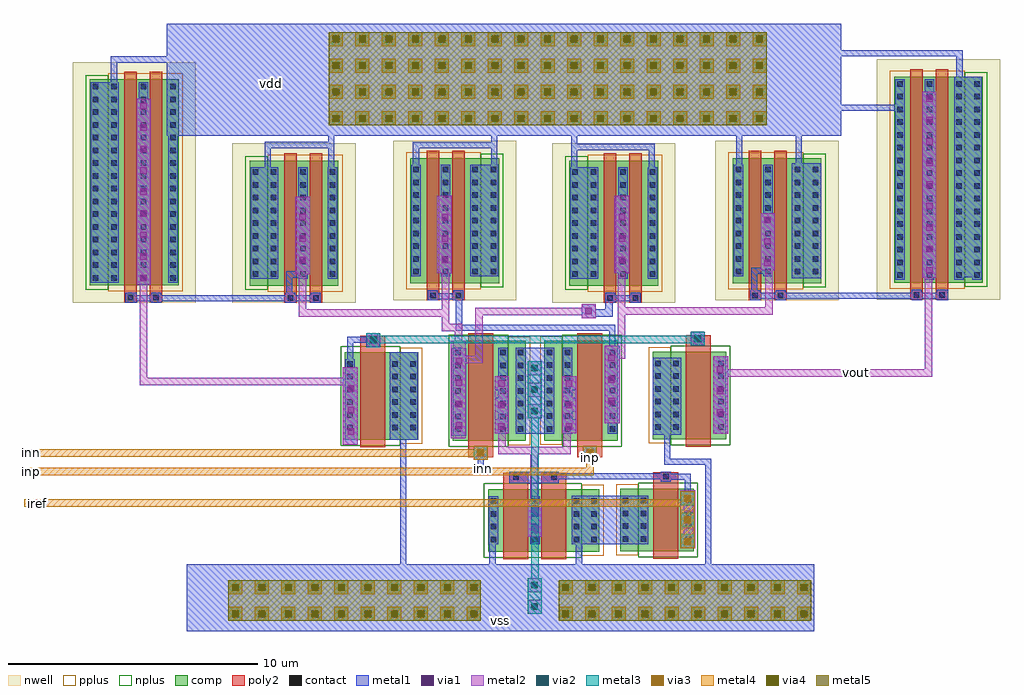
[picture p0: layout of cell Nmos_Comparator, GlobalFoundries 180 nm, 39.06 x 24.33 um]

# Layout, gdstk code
from math import pi, radians
import gdstk
lib = gdstk.Library(unit=1e-6, precision=1e-09)
def R(c, l, rs):  # rectangles x0, y0, x1, y1
    for r in rs: c.add(gdstk.rectangle(r[:2], r[2:], *l))
def A(c, l, x, y, w, h, nx, ny, dx, dy):  # array of equal rectangles
    R(c, l, [(x+i*dx, y+j*dy, x+i*dx+w, y+j*dy+h) for i in range(nx) for j in range(ny)])
nwell = (21, 0)
comp = (22, 0)
poly2 = (30, 0)
pplus = (31, 0)
nplus = (32, 0)
contact = (33, 0)
metal1 = (34, 0)
via1 = (35, 0)
metal2 = (36, 0)
via2 = (38, 0)
via3 = (40, 0)
via4 = (41, 0)
metal3 = (42, 0)
metal4 = (46, 0)
metal5 = (81, 0)

via_dev = lib.new_cell('via_dev')
R(via_dev, metal1, [(0,0,0.56,0.56)])
R(via_dev, via1, [(0.15,0.15,0.41,0.41)])
R(via_dev, metal2, [(0,0,0.56,0.56)])

via_dev_3 = lib.new_cell('via_dev$3')
R(via_dev_3, metal1, [(0,0,0.56,0.56)])
R(via_dev_3, via1, [(0.15,0.15,0.41,0.41)])
R(via_dev_3, metal2, [(0,0,0.56,0.56)])
R(via_dev_3, via2, [(0.15,0.15,0.41,0.41)])
R(via_dev_3, metal3, [(0,0,0.56,0.56)])

pfet_3 = lib.new_cell('pfet$3')
R(pfet_3, nwell, [(-1.15,-0.69,3.78,5.69)])
R(pfet_3, comp, [(-0.46,0,0,5), (0,0,1.9,5), (1.9,0,2.36,5), (2.36,0,3.09,5)])
R(pfet_3, poly2, [(0.19,-0.3,0.69,5.3), (1.21,-0.3,1.71,5.3), (0.19,5.3,0.69,5.68), (1.21,5.3,1.71,5.68)])
R(pfet_3, pplus, [(-0.63,-0.24,2.36,5.24)])
R(pfet_3, nplus, [(2.36,-0.17,3.26,5.17)])
A(pfet_3, contact, -0.34, 0.35, 0.22, 0.22, 3, 9, 1.18, 0.51)
A(pfet_3, contact, 2.75, 0.35, 0.22, 0.22, 1, 9, 0, 0.51)
R(pfet_3, contact, [(0.33,5.38,0.55,5.6), (1.35,5.38,1.57,5.6)])
A(pfet_3, metal1, -0.42, 0.27, 0.38, 4.46, 3, 1, 1.18, 0)
R(pfet_3, metal1, [(2.67,0.27,3.05,4.73), (0.25,5.299,0.63,5.681), (1.27,5.299,1.65,5.681)])

pfet = lib.new_cell('pfet')

nfet_6 = lib.new_cell('nfet$6')
R(nfet_6, comp, [(-0.42,0,0,3.5), (0,0,1.38,3.5), (1.38,0,1.8,3.5), (1.8,0,2.51,3.5)])
R(nfet_6, poly2, [(0.19,-0.3,1.19,3.8), (0.19,3.8,1.19,4.16)])
R(nfet_6, pplus, [(1.8,-0.17,2.68,3.67)])
R(nfet_6, nplus, [(-0.59,-0.24,1.8,3.74)])
A(nfet_6, contact, -0.32, 0.365, 0.22, 0.22, 1, 6, 0, 0.51)
A(nfet_6, contact, 1.48, 0.365, 0.22, 0.22, 1, 6, 0, 0.51)
A(nfet_6, contact, 2.19, 0.365, 0.22, 0.22, 1, 6, 0, 0.51)
R(nfet_6, contact, [(0.58,3.87,0.8,4.09)])
R(nfet_6, metal1, [(-0.4,0.285,-0.02,3.215), (1.4,0.285,1.78,3.215), (2.11,0.285,2.49,3.215), (0.5,3.789,0.88,4.171)])

pfet_1 = lib.new_cell('pfet$1')
R(pfet_1, nwell, [(-1.15,-0.69,3.78,8.94)])
R(pfet_1, comp, [(-0.46,0,0,8.25), (0,0,1.9,8.25), (1.9,0,2.36,8.25), (2.36,0,3.09,8.25)])
R(pfet_1, poly2, [(0.19,-0.3,0.69,8.55), (1.21,-0.3,1.71,8.55), (0.19,8.55,0.69,8.93), (1.21,8.55,1.71,8.93)])
R(pfet_1, pplus, [(-0.63,-0.24,2.36,8.49)])
R(pfet_1, nplus, [(2.36,-0.17,3.26,8.42)])
A(pfet_1, contact, -0.34, 0.19, 0.22, 0.22, 3, 16, 1.18, 0.51)
A(pfet_1, contact, 2.75, 0.19, 0.22, 0.22, 1, 16, 0, 0.51)
R(pfet_1, contact, [(0.33,8.63,0.55,8.85), (1.35,8.63,1.57,8.85)])
A(pfet_1, metal1, -0.42, 0.11, 0.38, 8.03, 3, 1, 1.18, 0)
R(pfet_1, metal1, [(2.67,0.11,3.05,8.14), (0.25,8.549,0.63,8.931), (1.27,8.549,1.65,8.931)])

via_dev_1 = lib.new_cell('via_dev$1')
R(via_dev_1, metal1, [(0,0,0.56,0.56)])
R(via_dev_1, via1, [(0.15,0.15,0.41,0.41)])
R(via_dev_1, metal2, [(0,0,0.56,0.56)])
R(via_dev_1, via2, [(0.15,0.15,0.41,0.41)])
R(via_dev_1, via3, [(0.15,0.15,0.41,0.41)])
R(via_dev_1, via4, [(0.15,0.15,0.41,0.41)])
R(via_dev_1, metal3, [(0,0,0.56,0.56)])
R(via_dev_1, metal4, [(0,0,0.56,0.56)])
R(via_dev_1, metal5, [(0,0,0.56,0.56)])

nfet = lib.new_cell('nfet')
R(nfet, comp, [(-0.42,0,0,2.5), (0,0,2.9,2.5), (2.9,0,3.32,2.5), (3.32,0,4.03,2.5)])
R(nfet, poly2, [(0.19,-0.3,1.19,2.8), (1.71,-0.3,2.71,2.8), (0.19,2.8,1.19,3.16), (1.71,2.8,2.71,3.16)])
R(nfet, pplus, [(3.32,-0.17,4.2,2.67)])
R(nfet, nplus, [(-0.59,-0.24,3.32,2.74)])
A(nfet, contact, -0.32, 0.375, 0.22, 0.22, 3, 4, 1.66, 0.51)
A(nfet, contact, 3.71, 0.375, 0.22, 0.22, 1, 4, 0, 0.51)
R(nfet, contact, [(0.58,2.87,0.8,3.09), (2.1,2.87,2.32,3.09)])
A(nfet, metal1, -0.4, 0.295, 0.38, 1.91, 3, 1, 1.66, 0)
R(nfet, metal1, [(3.63,0.295,4.01,2.205), (0.5,2.789,0.88,3.171), (2.02,2.789,2.4,3.171)])

nfet_2 = lib.new_cell('nfet$2')
R(nfet_2, comp, [(-0.42,0,0,2.5), (0,0,1.38,2.5), (1.38,0,1.8,2.5), (1.8,0,2.51,2.5)])
R(nfet_2, poly2, [(0.19,-0.3,1.19,2.8), (0.19,2.8,1.19,3.16)])
R(nfet_2, pplus, [(1.8,-0.17,2.68,2.67)])
R(nfet_2, nplus, [(-0.59,-0.24,1.8,2.74)])
A(nfet_2, contact, -0.32, 0.375, 0.22, 0.22, 1, 4, 0, 0.51)
A(nfet_2, contact, 1.48, 0.375, 0.22, 0.22, 1, 4, 0, 0.51)
A(nfet_2, contact, 2.19, 0.375, 0.22, 0.22, 1, 4, 0, 0.51)
R(nfet_2, contact, [(0.58,2.87,0.8,3.09)])
R(nfet_2, metal1, [(-0.4,0.295,-0.02,2.205), (1.4,0.295,1.78,2.205), (2.11,0.295,2.49,2.205), (0.5,2.789,0.88,3.171)])

via_dev_2 = lib.new_cell('via_dev$2')
R(via_dev_2, metal1, [(0,0,0.56,0.56)])
R(via_dev_2, via1, [(0.15,0.15,0.41,0.41)])
R(via_dev_2, metal2, [(0,0,0.56,0.56)])
R(via_dev_2, via2, [(0.15,0.15,0.41,0.41)])
R(via_dev_2, via3, [(0.15,0.15,0.41,0.41)])
R(via_dev_2, metal3, [(0,0,0.56,0.56)])
R(via_dev_2, metal4, [(0,0,0.56,0.56)])

nfet_5 = lib.new_cell('nfet$5')
R(nfet_5, comp, [(-0.42,0,0,4), (0,0,1.38,4), (1.38,0,1.8,4), (1.8,0,2.51,4)])
R(nfet_5, poly2, [(0.19,-0.3,1.19,4.3), (0.19,4.3,1.19,4.66)])
R(nfet_5, pplus, [(1.8,-0.17,2.68,4.17)])
R(nfet_5, nplus, [(-0.59,-0.24,1.8,4.24)])
A(nfet_5, contact, -0.32, 0.36, 0.22, 0.22, 1, 7, 0, 0.51)
A(nfet_5, contact, 1.48, 0.36, 0.22, 0.22, 1, 7, 0, 0.51)
A(nfet_5, contact, 2.19, 0.36, 0.22, 0.22, 1, 7, 0, 0.51)
R(nfet_5, contact, [(0.58,4.37,0.8,4.59)])
R(nfet_5, metal1, [(-0.4,0.28,-0.02,3.72), (1.4,0.28,1.78,3.72), (2.11,0.28,2.49,3.72), (0.5,4.289,0.88,4.671)])

nmos_comparator = lib.new_cell('Nmos_Comparator')
R(nmos_comparator, metal1, [(-17.5,-11.74,7.6,-9.04), (-2.105,-8.245,0.96,-6.315), (-2.105,-8.23,-1.02,-6.335), (-3.86,-7.95,-3.3,-6.53), (-4.61,-5.8,-2.61,-5.35), (1.47,-5.74,1.87,-5.34), (-5.95,-4.79,-5.55,-4.39), (-1.58,-4.78,-1.16,-4.37), (-11.26,-4.26,-10.66,-1.16), (-9.38,-4.06,-8.26,-0.56), (-6.93,-3.9,-6.33,-0.4), (1.15,-3.87,2.28,-0.78), (3.56,-3.83,4.16,-0.73), (-4.33,-3.82,-2.79,-0.39), (-0.78,-3.4,-0.18,-0.3), (-10.27,-0.28,-9.87,0.12), (2.76,-0.27,3.18,0.16), (-19.96,1.41,-19.5,1.82), (-13.56,1.41,-13.16,1.81), (-12.54,1.41,-12.14,1.81), (-0.76,1.41,-0.36,1.82), (0.26,1.41,0.66,1.81), (-18.93,1.42,-18.53,1.82), (-7.86,1.51,-7.46,1.92), (-6.84,1.51,-6.44,1.91), (5.04,1.51,5.45,1.92), (6.06,1.51,6.47,1.92), (11.5,1.52,11.91,1.93), (12.5,1.52,12.96,1.93), (-19.51,2.13,-18.95,9.57), (-21.34,2.22,-20.23,10.25), (-14.95,2.37,-13.84,6.83), (-2.15,2.37,-1.04,6.83), (6.7,2.4,7.89,7), (11.93,2.42,12.49,9.86), (13.21,2.435,14.31,10.465), (-6.16,2.47,-5.05,6.93), (-13.17,2.55,-12.57,5.65), (-7.5,2.6,-6.9,5.7), (-0.4,2.6,0.2,5.7), (5.46,2.72,6.02,5), (-2.125,6.83,-1.875,8.3), (-18.31,8.09,8.69,12.59)])
R(nmos_comparator, metal2, [(2.24,-8.41,2.84,-6.08), (-3.86,-7.95,-3.3,-6.53), (-11.26,-4.26,-10.66,-1.16), (-6.94,-4.01,-6.34,-0.11), (3.56,-3.83,4.16,-0.73), (-5.19,-3.8,-4.63,-1.53), (-2.48,-3.8,-1.92,-1.53), (-0.78,-3.4,-0.18,-0.3), (-19.51,2.13,-18.95,9.57), (11.93,2.42,12.49,9.86), (-13.17,2.55,-12.57,5.65), (-7.5,2.6,-6.9,5.7), (-0.4,2.6,0.2,5.7), (5.46,2.72,6.02,5)])
R(nmos_comparator, metal3, [(-3.86,-11.03,-3.3,-9.61), (-3.86,-3.2,-3.3,-0.94)])
R(nmos_comparator, metal4, [(2.24,-8.41,2.83,-6.12)])
R(nmos_comparator, metal5, [(-15.84,-11.32,-5.74,-9.7), (-2.62,-11.32,7.48,-9.7), (-11.82,8.51,5.7,12.25)])
nmos_comparator.add(gdstk.FlexPath([(-5.27,-8.165),(-5.27,-9.39),(-1.805,-9.39),(-1.805,-8.08)], 0.25, ends="flush", simple_path=True, layer=34, datatype=0))  # metal1
nmos_comparator.add(gdstk.FlexPath([(2.54,-6.315),(2.54,-5.55),(1.56,-5.55)], 0.25, ends="flush", simple_path=True, layer=34, datatype=0))  # metal1
nmos_comparator.add(gdstk.FlexPath([(1.56,-5.53),(-4.47,-5.53)], 0.25, ends="flush", simple_path=True, layer=34, datatype=0))  # metal1
nmos_comparator.add(gdstk.FlexPath([(-5.74,-4.71),(-5.74,-5.21)], 0.23, ends="flush", simple_path=True, layer=34, datatype=0))  # metal1
nmos_comparator.add(gdstk.FlexPath([(-6.61,1.6),(-6.61,0.42),(-0.48,0.42),(-0.48,-0.67)], 0.25, ends="flush", simple_path=True, layer=34, datatype=0))  # metal1
nmos_comparator.add(gdstk.FlexPath([(1.72,-3.4),(1.72,-4.95),(3.36,-4.95),(3.36,-10.28)], 0.25, ends="flush", simple_path=True, layer=34, datatype=0))  # metal1
nmos_comparator.add(gdstk.FlexPath([(-10.96,-1.16),(-10.96,-0.07),(-10.18,-0.07)], 0.25, ends="flush", simple_path=True, layer=34, datatype=0))  # metal1
nmos_comparator.add(gdstk.FlexPath([(-8.84,-3.63),(-8.84,-10.31)], 0.25, ends="flush", simple_path=True, layer=34, datatype=0))  # metal1
nmos_comparator.add(gdstk.FlexPath([(-19.56,1.6),(-18.92,1.6)], 0.25, ends="flush", simple_path=True, layer=34, datatype=0))  # metal1
nmos_comparator.add(gdstk.FlexPath([(-12.53,1.6),(-13.17,1.6)], 0.25, ends="flush", simple_path=True, layer=34, datatype=0))  # metal1
nmos_comparator.add(gdstk.FlexPath([(-20.42,10.25),(-20.42,11.15),(-18.25,11.15),(-18.25,11.15)], 0.25, ends="flush", simple_path=True, layer=34, datatype=0))  # metal1
nmos_comparator.add(gdstk.FlexPath([(-14.26,6.56),(-14.26,7.73),(-11.6,7.73)], 0.25, ends="flush", simple_path=True, layer=34, datatype=0))  # metal1
nmos_comparator.add(gdstk.FlexPath([(-8.33,6.93),(-8.33,7.72),(-5.2,7.72)], 0.25, ends="flush", simple_path=True, layer=34, datatype=0))  # metal1
nmos_comparator.add(gdstk.FlexPath([(-13,2.55),(-13.4,2.55),(-13.4,1.72)], 0.25, ends="flush", simple_path=True, layer=34, datatype=0))  # metal1
nmos_comparator.add(gdstk.FlexPath([(5.2,1.9),(5.2,2.7),(5.64,2.7)], 0.25, ends="flush", simple_path=True, layer=34, datatype=0))  # metal1
nmos_comparator.add(gdstk.FlexPath([(8.69,9.22),(11.22,9.22)], 0.25, ends="flush", simple_path=True, layer=34, datatype=0))  # metal1
nmos_comparator.add(gdstk.FlexPath([(-0.6,1.5),(-0.6,1),(-1.14,1),(-1.14,1)], 0.3, ends="flush", simple_path=True, layer=34, datatype=0))  # metal1
nmos_comparator.add(gdstk.FlexPath([(1.1,6.75),(1.1,7.65),(-2.125,7.65)], 0.25, ends="flush", simple_path=True, layer=34, datatype=0))  # metal1
nmos_comparator.add(gdstk.FlexPath([(6.99,6.93),(6.99,8.43)], 0.25, ends="flush", simple_path=True, layer=34, datatype=0))  # metal1
nmos_comparator.add(gdstk.FlexPath([(11.9,1.7),(12.54,1.7)], 0.25, ends="flush", simple_path=True, layer=34, datatype=0))  # metal1
nmos_comparator.add(gdstk.FlexPath([(13.42,10.47),(13.42,11.4),(7.89,11.4)], 0.25, ends="flush", simple_path=True, layer=34, datatype=0))  # metal1
nmos_comparator.add(gdstk.FlexPath([(13.42,10.57),(13.42,10.06)], 0.25, ends="flush", simple_path=True, layer=34, datatype=0))  # metal1
nmos_comparator.add(gdstk.FlexPath([(6.45,1.7),(11.52,1.7),(11.52,1.7)], 0.25, ends="flush", simple_path=True, layer=34, datatype=0))  # metal1
nmos_comparator.add(gdstk.FlexPath([(-7.44,1.68),(-6.8,1.68),(-6.8,1.68)], 0.25, ends="flush", simple_path=True, layer=34, datatype=0))  # metal1
nmos_comparator.add(gdstk.FlexPath([(-0.37,1.6),(0.27,1.6)], 0.25, ends="flush", simple_path=True, layer=34, datatype=0))  # metal1
nmos_comparator.add(gdstk.FlexPath([(6.07,1.7),(5.43,1.7)], 0.25, ends="flush", simple_path=True, layer=34, datatype=0))  # metal1
nmos_comparator.add(gdstk.FlexPath([(-7.44,1.68),(-7.5,1.68),(-7.55,1.68)], 0.25, ends="flush", simple_path=True, layer=34, datatype=0))  # metal1
nmos_comparator.add(gdstk.FlexPath([(-5.2,6.9),(-5.2,8.9)], 0.25, ends="flush", simple_path=True, layer=34, datatype=0))  # metal1
nmos_comparator.add(gdstk.FlexPath([(-11.725,6.83),(-11.725,8.1)], 0.25, ends="flush", simple_path=True, layer=34, datatype=0))  # metal1
nmos_comparator.add(gdstk.FlexPath([(4.6,6.93),(4.6,8.3)], 0.25, ends="flush", simple_path=True, layer=34, datatype=0))  # metal1
nmos_comparator.add(gdstk.FlexPath([(11.52,1.7),(11.6,1.7)], 0.25, ends="flush", simple_path=True, layer=34, datatype=0))  # metal1
nmos_comparator.add(gdstk.FlexPath([(-18.575,1.6),(-13.495,1.6)], 0.25, ends="flush", simple_path=True, layer=34, datatype=0))  # metal1
nmos_comparator.add(gdstk.FlexPath([(-3.57,-3.2),(-3.57,-10.35)], 0.3, ends="flush", simple_path=True, layer=42, datatype=0))  # metal3
nmos_comparator.add(gdstk.FlexPath([(-3.57,-10.34),(-3.57,-11.03)], 0.3, ends="flush", simple_path=True, layer=42, datatype=0))  # metal3
nmos_comparator.add(gdstk.FlexPath([(3.16,-0.05),(-10.12,-0.05),(-10.12,-0.05)], 0.3, ends="flush", simple_path=True, layer=42, datatype=0))  # metal3
nmos_comparator.add(gdstk.FlexPath([(-0.11,0.5),(-0.11,-0.68),(-0.54,-0.68)], 0.3, ends="flush", simple_path=True, layer=36, datatype=0))  # metal2
nmos_comparator.add(gdstk.FlexPath([(-3.61,-6.94),(-3.61,-4.5),(-4.89,-4.5),(-4.89,-3.37),(-4.89,-3.27)], 0.3, ends="flush", simple_path=True, layer=36, datatype=0))  # metal2
nmos_comparator.add(gdstk.FlexPath([(-3.61,-4.5),(-2.53,-4.5),(-2.53,-4.5),(-2.28,-4.5),(-2.28,-3.23),(-2.28,-3.23)], 0.3, ends="flush", simple_path=True, layer=36, datatype=0))  # metal2
nmos_comparator.add(gdstk.FlexPath([(-7.16,2.84),(-7.16,0.42),(-6.64,0.42),(-6.64,-0.98)], 0.3, ends="flush", simple_path=True, layer=36, datatype=0))  # metal2
nmos_comparator.add(gdstk.FlexPath([(-1.7,1.06),(-5.81,1.06),(-5.81,-0.86),(-6.75,-0.86)], 0.3, ends="flush", simple_path=True, layer=36, datatype=0))  # metal2
nmos_comparator.add(gdstk.FlexPath([(-10.87,-1.73),(-19.24,-1.73),(-19.24,2.69)], 0.3, ends="flush", simple_path=True, layer=36, datatype=0))  # metal2
nmos_comparator.add(gdstk.FlexPath([(12.18,2.98),(12.18,-1.39),(3.72,-1.39)], 0.3, ends="flush", simple_path=True, layer=36, datatype=0))  # metal2
nmos_comparator.add(gdstk.FlexPath([(-0.1,2.705),(-0.1,0.5),(-0.1,0.5)], 0.3, ends="flush", simple_path=True, layer=36, datatype=0))  # metal2
nmos_comparator.add(gdstk.FlexPath([(-0.035,1.08),(5.8,1.08),(5.8,2.8)], 0.3, ends="flush", simple_path=True, layer=36, datatype=0))  # metal2
nmos_comparator.add(gdstk.FlexPath([(-7.225,1),(-8.4,1)], 0.3, ends="flush", simple_path=True, layer=36, datatype=0))  # metal2
nmos_comparator.add(gdstk.FlexPath([(-12.875,2.65),(-12.875,1),(-8.4,1)], 0.3, ends="flush", simple_path=True, layer=36, datatype=0))  # metal2
nmos_comparator.add(gdstk.FlexPath([(-1.36,-4.47),(-1.36,-5.34),(-24.01,-5.34),(-24.01,-5.34)], 0.3, ends="flush", simple_path=True, layer=46, datatype=0))  # metal4
nmos_comparator.add(gdstk.FlexPath([(-5.55,-4.59),(-23.98,-4.59),(-23.98,-4.59),(-23.98,-4.59)], 0.3, ends="flush", simple_path=True, layer=46, datatype=0))  # metal4
nmos_comparator.add(gdstk.FlexPath([(2.46,-6.6),(-24,-6.6),(-24.02,-6.6)], 0.3, ends="flush", simple_path=True, layer=46, datatype=0))  # metal4
r = gdstk.Reference(via_dev, (0.2,5.12), rotation=pi); r.repetition = gdstk.Repetition(1, 3, v1=(0,0), v2=(0,-0.86)); nmos_comparator.add(r)
r = gdstk.Reference(via_dev, (12.49,9.86), rotation=pi); r.repetition = gdstk.Repetition(1, 9, v1=(0,0), v2=(0,-0.86)); nmos_comparator.add(r)
r = gdstk.Reference(via_dev, (-6.9,5.12), rotation=pi); r.repetition = gdstk.Repetition(1, 3, v1=(0,0), v2=(0,-0.86)); nmos_comparator.add(r)
nmos_comparator.add(gdstk.Reference(via_dev_3, (-9.76,-0.36), rotation=pi/2))
nmos_comparator.add(gdstk.Reference(via_dev, (-1.7,0.8)))
r = gdstk.Reference(via_dev, (-12.6,5.12), rotation=pi); r.repetition = gdstk.Repetition(1, 3, v1=(0,0), v2=(0,-0.86)); nmos_comparator.add(r)
r = gdstk.Reference(via_dev, (-10.66,-1.74), rotation=pi); r.repetition = gdstk.Repetition(1, 3, v1=(0,0), v2=(0,-0.86)); nmos_comparator.add(r)
r = gdstk.Reference(via_dev, (6.02,5), rotation=pi); r.repetition = gdstk.Repetition(1, 3, v1=(0,0), v2=(0,-0.86)); nmos_comparator.add(r)
nmos_comparator.add(gdstk.Reference(pfet_3, (4.8,7.2), x_reflection=True))
nmos_comparator.add(gdstk.Reference(pfet, (-4.727,1.16), rotation=pi/2))
nmos_comparator.add(gdstk.Reference(pfet_3, (-11.9,7.1), rotation=pi))
nmos_comparator.add(gdstk.Reference(nfet_6, (3.66,-4.04), rotation=pi, x_reflection=True))
nmos_comparator.add(gdstk.Reference(pfet_3, (0.9,7.1), rotation=pi))
nmos_comparator.add(gdstk.Reference(pfet_3, (-8.1,7.2), x_reflection=True))
nmos_comparator.add(gdstk.Reference(nfet_6, (-10.76,-4.06)))
r = gdstk.Reference(via_dev, (-18.95,9.57), rotation=pi); r.repetition = gdstk.Repetition(1, 9, v1=(0,0), v2=(0,-0.86)); nmos_comparator.add(r)
nmos_comparator.add(gdstk.Reference(pfet_1, (-18.29,10.36), rotation=pi))
nmos_comparator.add(gdstk.Reference(pfet_1, (11.26,10.47), x_reflection=True))
r = gdstk.Reference(via_dev, (-1.92,-3.81), rotation=pi/2); r.repetition = gdstk.Repetition(3, 1, v1=(0,0.86), v2=(0,0)); nmos_comparator.add(r)
r = gdstk.Reference(via_dev_1, (-11.82,8.51)); r.repetition = gdstk.Repetition(17, 4, v1=(1.06,0), v2=(0,1.06)); nmos_comparator.add(r)
r = gdstk.Reference(via_dev, (-3.29,-7.95), rotation=pi, x_reflection=True); r.repetition = gdstk.Repetition(1, 2, v1=(0,0), v2=(0,0.86)); nmos_comparator.add(r)
nmos_comparator.add(gdstk.Reference(nfet, (-5.025,-8.54)))
nmos_comparator.add(gdstk.Reference(nfet_2, (2.36,-8.52), rotation=pi, x_reflection=True))
r = gdstk.Reference(via_dev_2, (2.26,-6.13), x_reflection=True); r.repetition = gdstk.Repetition(1, 3, v1=(0,0), v2=(0,-0.86)); nmos_comparator.add(r)
nmos_comparator.add(gdstk.Reference(nfet_5, (-6.44,-0.11), x_reflection=True))
r = gdstk.Reference(via_dev, (-6.34,-0.63), rotation=pi); r.repetition = gdstk.Repetition(1, 4, v1=(0,0), v2=(0,-0.86)); nmos_comparator.add(r)
nmos_comparator.add(gdstk.Reference(nfet_5, (-0.68,-0.1), rotation=pi))
r = gdstk.Reference(via_dev, (-0.78,-2.8)); r.repetition = gdstk.Repetition(1, 3, v1=(0,0), v2=(0,0.86)); nmos_comparator.add(r)
r = gdstk.Reference(via_dev_3, (-3.3,-3.2), rotation=pi/2); r.repetition = gdstk.Repetition(3, 1, v1=(0,0.86), v2=(0,0)); nmos_comparator.add(r)
r = gdstk.Reference(via_dev_3, (-3.3,-11.03), rotation=pi/2); r.repetition = gdstk.Repetition(2, 1, v1=(0,0.86), v2=(0,0)); nmos_comparator.add(r)
r = gdstk.Reference(via_dev, (-4.63,-3.81), rotation=pi/2); r.repetition = gdstk.Repetition(3, 1, v1=(0,0.86), v2=(0,0)); nmos_comparator.add(r)
r = gdstk.Reference(via_dev, (3.56,-3.26)); r.repetition = gdstk.Repetition(1, 3, v1=(0,0), v2=(0,0.86)); nmos_comparator.add(r)
nmos_comparator.add(gdstk.Reference(via_dev_3, (2.66,0.26), rotation=3*pi/2))
nmos_comparator.add(gdstk.Reference(via_dev_2, (-6.03,-4.86)))
nmos_comparator.add(gdstk.Reference(via_dev_2, (-1.65,-4.86)))
r = gdstk.Reference(via_dev_1, (-15.84,-11.32)); r.repetition = gdstk.Repetition(10, 2, v1=(1.06,0), v2=(0,1.06)); nmos_comparator.add(r)
r = gdstk.Reference(via_dev_1, (-2.62,-11.32)); r.repetition = gdstk.Repetition(10, 2, v1=(1.06,0), v2=(0,1.06)); nmos_comparator.add(r)
nmos_comparator.add(gdstk.Label('vss', (-4.94,-11.32), layer=34, texttype=10))
nmos_comparator.add(gdstk.Label('inn', (-5.64,-5.21), layer=34, texttype=10))
nmos_comparator.add(gdstk.Label('inp', (-1.34,-4.79), layer=34, texttype=10))
nmos_comparator.add(gdstk.Label('vdd', (-14.1,10.2), layer=34, texttype=10))
nmos_comparator.add(gdstk.Label('vout', (9.28,-1.39), layer=36, texttype=10))
nmos_comparator.add(gdstk.Label('inp', (-23.72,-5.34), layer=46, texttype=10))
nmos_comparator.add(gdstk.Label('inn', (-23.73,-4.59), layer=46, texttype=10))
nmos_comparator.add(gdstk.Label('iref', (-23.47,-6.6), layer=46, texttype=10))

lib.write_gds('Nmos_Comparator.gds')
